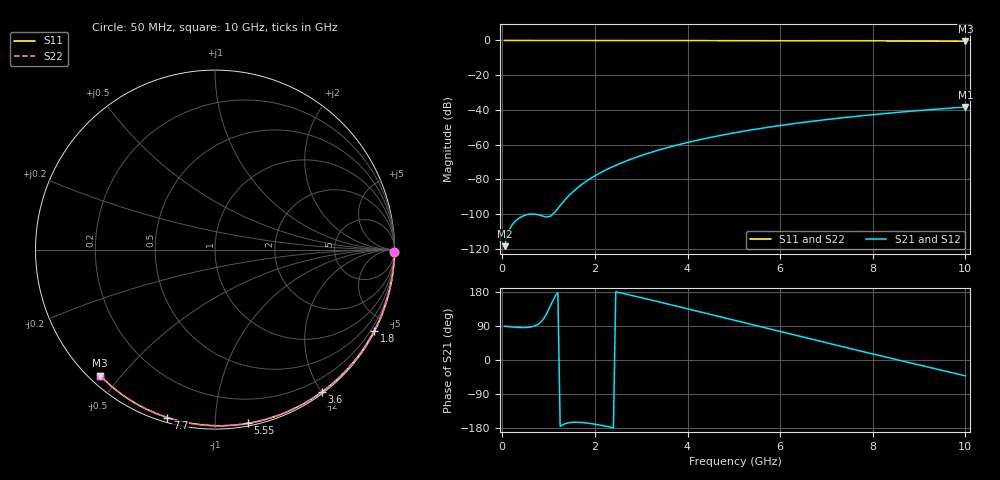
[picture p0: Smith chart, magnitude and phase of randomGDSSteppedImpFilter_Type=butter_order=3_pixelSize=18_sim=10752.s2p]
! freq	dB(S11)	phase(S11)	dB(S12)	phase(S12)
!  dB(S21)	phase(S21)	dB(S22)	phase(S22)
!S-par simulation data
#  GHz  S  DB  R 50
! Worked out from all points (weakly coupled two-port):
!   200 points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, 50 MHz to 10 GHz, reference 50 ohm
!   highest |S21| = -38.33 dB at 10 GHz (marker M1); lowest = -118.4 dB at 50 MHz (marker M2)
!   lowest |S11| = -0.4 dB at 10 GHz (marker M3), VSWR 38.86, Z = 1.54 - j22.1 ohm
!   |S11| at or under -10 dB: nowhere
!   |S22| runs from -0.4 to 0.0 dB; largest |S21 - S12| = 0
!   S11 on the Smith chart (normalised r, x): 50 MHz: open; 1.8 GHz: 0.04, -4.14; 3.6 GHz: 0.02, -2.00; 5.55 GHz: 0.02, -1.21; 7.7 GHz: 0.02, -0.76; 10 GHz: 0.03, -0.44
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0.05  -0.00 -0.8  -118.40 89.2  -118.40 89.2  -0.00 -0.8
0.9  -0.02 -13.7  -101.33 110.7  -101.33 110.7  -0.02 -13.7
1.75  -0.03 -26.4  -82.23 -165.3  -82.23 -165.3  -0.03 -26.4
1.8  -0.03 -27.2  -81.29 -166.0  -81.29 -166.0  -0.03 -27.2
1.85  -0.04 -27.9  -80.40 -166.7  -80.40 -166.7  -0.04 -27.9
1.9  -0.04 -28.6  -79.54 -167.6  -79.54 -167.6  -0.04 -28.6
2.05  -0.04 -30.8  -77.16 -170.5  -77.16 -170.5  -0.04 -30.8
2.25  -0.04 -33.8  -74.35 -175.2  -74.35 -175.2  -0.04 -33.8
2.45  -0.05 -36.7  -71.87 179.8  -71.87 179.8  -0.05 -36.7
2.65  -0.05 -39.6  -69.65 174.4  -69.65 174.4  -0.05 -39.6
3  -0.06 -44.6  -66.24 164.5  -66.24 164.5  -0.06 -44.6
3.4  -0.07 -50.3  -62.90 152.9  -62.90 152.9  -0.07 -50.3
3.6  -0.07 -53.1  -61.41 147.0  -61.41 147.0  -0.07 -53.1
4.3  -0.09 -62.7  -56.91 126.0  -56.91 126.0  -0.09 -62.7
5.05  -0.11 -72.8  -52.99 103.5  -52.99 103.5  -0.11 -72.8
5.55  -0.13 -79.3  -50.76 88.4  -50.76 88.4  -0.13 -79.3
6.1  -0.15 -86.3  -48.58 72.0  -48.58 72.0  -0.15 -86.3
6.7  -0.18 -93.7  -46.49 54.1  -46.49 54.1  -0.18 -93.7
7.7  -0.24 -105.8  -43.50 24.7  -43.50 24.7  -0.24 -105.8
8.35  -0.29 -113.5  -41.83 5.7  -41.83 5.7  -0.29 -113.5
9.15  -0.36 -122.7  -40.01 -17.4  -40.01 -17.4  -0.36 -122.7
10  -0.45 -132.4  -38.33 -41.9  -38.33 -41.9  -0.45 -132.4
